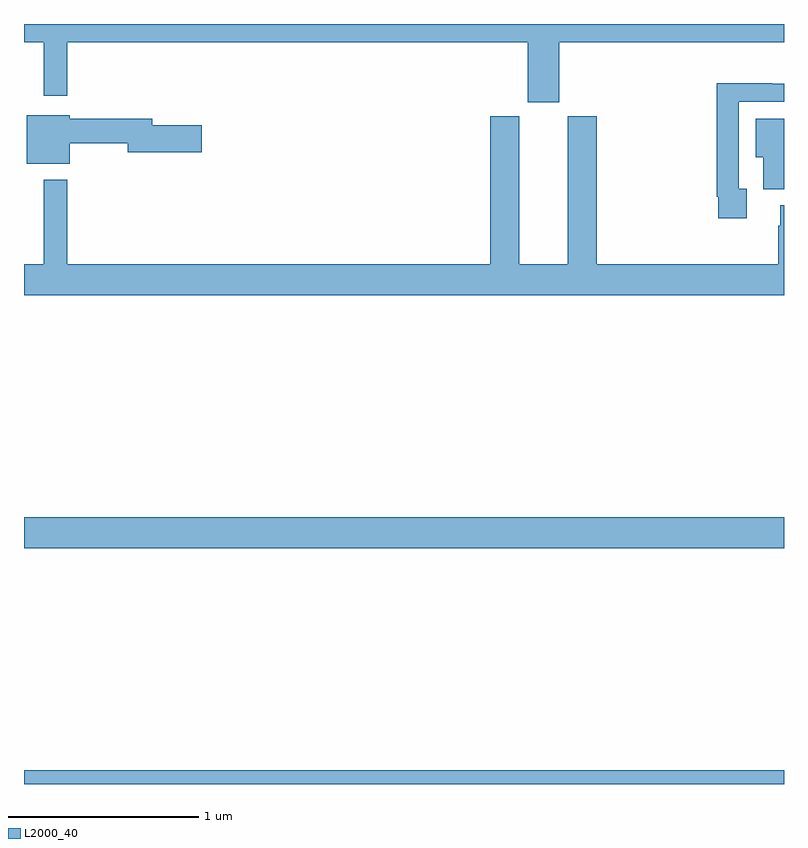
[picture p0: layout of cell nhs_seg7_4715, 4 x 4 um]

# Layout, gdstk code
import gdstk
lib = gdstk.Library(unit=1e-6, precision=1e-09)
def R(c, l, rs):  # rectangles x0, y0, x1, y1
    for r in rs: c.add(gdstk.rectangle(r[:2], r[2:], *l))
def P(c, l, *ps):  # polygons
    for p in ps: c.add(gdstk.Polygon(p, *l))
L2000_40 = (2000, 40)

nhs_seg7_4715 = lib.new_cell('nhs_seg7_4715')
R(nhs_seg7_4715, L2000_40, [(407,1042,411,1042.072), (407,1043.24,411,1043.404)])
P(nhs_seg7_4715, L2000_40, [(409.816,1045.904),(411,1045.904),(411,1046),(407,1046),(407,1045.904),(407.105,1045.904),(407.105,1045.623),(407.227,1045.623),(407.227,1045.904),(409.652,1045.904),(409.652,1045.587),(409.816,1045.587)],
  [(410.803,1045.134),(410.763,1045.134),(410.763,1045.59),(411,1045.59),(411,1045.686),(410.939,1045.686),(410.939,1045.688),(410.647,1045.688),(410.647,1045.09),(410.655,1045.09),(410.655,1044.978),(410.803,1044.978)],
  [(407.242,1045.372),(407.546,1045.372),(407.546,1045.325),(407.935,1045.325),(407.935,1045.467),(407.674,1045.467),(407.674,1045.501),(407.242,1045.501),(407.242,1045.519),(407.015,1045.519),(407.015,1045.265),(407.242,1045.265)],
  [(411,1045.045),(410.981,1045.045),(410.981,1044.938),(410.969,1044.938),(410.969,1044.736),(410.015,1044.736),(410.015,1045.515),(409.862,1045.515),(409.862,1044.736),(409.606,1044.736),(409.606,1045.515),(409.454,1045.515),(409.454,1044.736),(407.227,1044.736),(407.227,1045.18),(407.105,1045.18),(407.105,1044.736),(407,1044.736),(407,1044.572),(411,1044.572)],
  [(411,1045.501),(410.852,1045.501),(410.852,1045.298),(410.891,1045.298),(410.891,1045.13),(411,1045.13)])

lib.write_gds('nhs_seg7_4715.gds')
